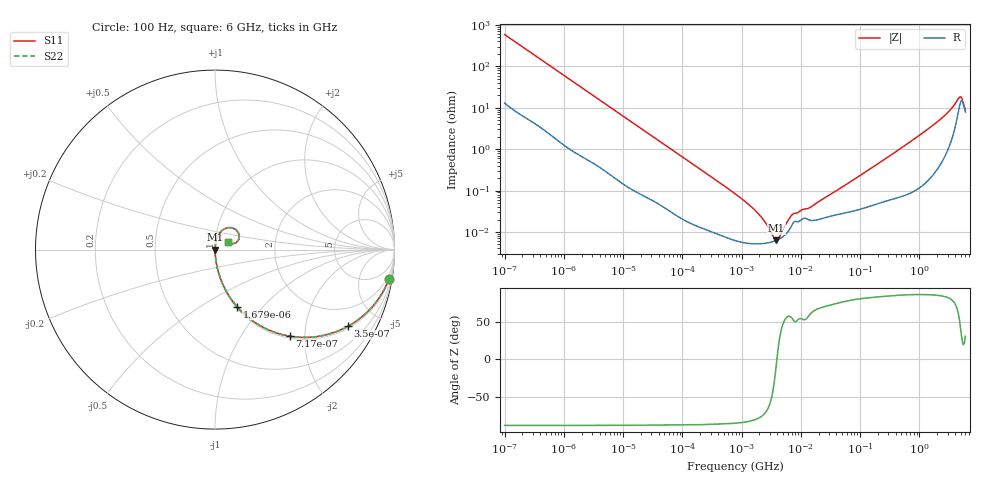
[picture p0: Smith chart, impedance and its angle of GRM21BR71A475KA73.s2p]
!Murata Part Number: GRM21BR71A475KA73
!These Parameters are Measured in Series Mode Connection
!Data Generated on Mar 30, 2021
!  o--ll--o
!Port1  Port2
!  o------o
!Operation Temp=25[degC], DC Bias Voltage=0[V]
!Freq. Start=100[Hz] Stop=6[GHz] 401[Steps]
# Hz S RI R 50
!Freq.(Hz) S11(Real) S11(Imag) S21(Real) S21(Imag) S12(Real) S12(Imag) S22(Real) S22(Imag)
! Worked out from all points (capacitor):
!   401 points, 100 Hz to 6 GHz, reference 50 ohm
!   read as one part in series: C = 2.69 uF near 109 Hz
!   lowest |Z| = 6.34 mohm at 3.882 MHz (marker M1)
!   series resonance near 3.949 MHz, so ESL is about 600 pH
!   S11 on the Smith chart (normalised r, x): 100 Hz: 1, -12; 350 Hz: 1.08, -3.42; 717 Hz: 1.04, -1.69; 1.679 kHz: 1.02, -0.73; 6 GHz: 1.16, +0.10
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100  0.9687 -0.1636  0.0313 0.1636  0.0313 0.1636  0.9687 -0.1636
196  0.897 -0.2934  0.103 0.2934  0.103 0.2934  0.897 -0.2934
350  0.7404 -0.4273  0.2596 0.4273  0.2596 0.4273  0.7404 -0.4273
717  0.418 -0.4827  0.582 0.4827  0.582 0.4827  0.418 -0.4827
1122  0.2319 -0.4119  0.7681 0.4119  0.7681 0.4119  0.2319 -0.4119
1679  0.1222 -0.3171  0.8778 0.3171  0.8778 0.3171  0.1222 -0.3171
2008  0.0901 -0.2757  0.9099 0.2757  0.9099 0.2757  0.0901 -0.2757
7036  0.00982 -0.0877  0.9902 0.0877  0.9902 0.0877  0.00982 -0.0877
40335  0.000718 -0.0159  0.9993 0.0159  0.9993 0.0159  0.000718 -0.0159
774597  6.27e-05 -0.000839  0.9999 0.000839  0.9999 0.000839  6.27e-05 -0.000839
1813585  5.15e-05 -0.000297  0.9999 0.000297  0.9999 0.000297  5.15e-05 -0.000297
3103719  5.66e-05 -8.44e-05  0.9999 8.44e-05  0.9999 8.44e-05  5.66e-05 -8.44e-05
3882480  6.31e-05 -5.9e-06  0.9999 5.9e-06  0.9999 5.9e-06  6.31e-05 -5.9e-06
4856642  7.49e-05 7.36e-05  0.9999 -7.36e-05  0.9999 -7.36e-05  7.49e-05 7.36e-05
7266822  0.000157 0.000218  0.9998 -0.000218  0.9998 -0.000218  0.000157 0.000218
1.555665e7  0.000189 0.000376  0.9998 -0.000376  0.9998 -0.000376  0.000189 0.000376
3.124326e8  0.000632 0.00677  0.9994 -0.00677  0.9994 -0.00677  0.000632 0.00677
2.048624e9  0.00551 0.0461  0.9945 -0.0461  0.9945 -0.0461  0.00551 0.0461
3.505958e9  0.025 0.0912  0.975 -0.0912  0.975 -0.0912  0.025 0.0912
4.586474e9  0.0928 0.1222  0.9072 -0.1222  0.9072 -0.1222  0.0928 0.1222
5.016141e9  0.1338 0.0883  0.8662 -0.0883  0.8662 -0.0883  0.1338 0.0883
6e9  0.0751 0.0408  0.9249 -0.0408  0.9249 -0.0408  0.0751 0.0408
